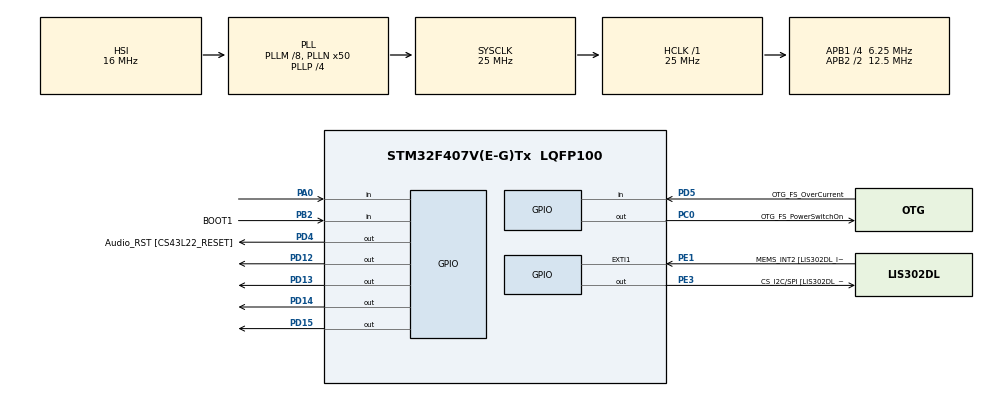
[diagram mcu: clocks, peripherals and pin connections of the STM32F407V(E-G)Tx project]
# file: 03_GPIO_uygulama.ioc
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Mcu.Family=STM32F4
Mcu.Name=STM32F407V(E-G)Tx
Mcu.Package=LQFP100
NVIC.PriorityGroup=NVIC_PRIORITYGROUP_0
PA0-WKUP.Signal=GPIO_Input
PA10.GPIO_Label=OTG_FS_ID
PA10.GPIO_Mode=GPIO_MODE_AF_PP
PA10.GPIO_PuPd=GPIO_NOPULL
PA10.GPIO_Speed=GPIO_SPEED_FREQ_LOW
PA10.Signal=USB_OTG_FS_ID
PA11.GPIO_Label=OTG_FS_DM
PA11.GPIO_Mode=GPIO_MODE_AF_PP
PA11.GPIO_PuPd=GPIO_NOPULL
PA11.GPIO_Speed=GPIO_SPEED_FREQ_LOW
PA11.Signal=USB_OTG_FS_DM
PA12.GPIO_Label=OTG_FS_DP
PA12.GPIO_Mode=GPIO_MODE_AF_PP
PA12.GPIO_PuPd=GPIO_NOPULL
PA12.GPIO_Speed=GPIO_SPEED_FREQ_LOW
PA12.Signal=USB_OTG_FS_DP
PA13.GPIO_Label=SWDIO
PA13.Signal=SYS_JTMS-SWDIO
PA14.GPIO_Label=SWCLK
PA14.Signal=SYS_JTCK-SWCLK
PA4.GPIO_Label=I2S3_WS [CS43L22_LRCK]
PA4.GPIO_Mode=GPIO_MODE_AF_PP
PA4.GPIO_PuPd=GPIO_NOPULL
PA4.GPIO_Speed=GPIO_SPEED_FREQ_LOW
PA4.Signal=I2S3_WS
PA5.GPIO_Label=SPI1_SCK [LIS302DL_SCL/SPC]
PA5.GPIO_Mode=GPIO_MODE_AF_PP
PA5.GPIO_PuPd=GPIO_NOPULL
PA5.GPIO_Speed=GPIO_SPEED_FREQ_LOW
PA5.Signal=SPI1_SCK
PA6.GPIO_Label=SPI1_MISO [LIS302DL_SDO]
PA6.GPIO_Mode=GPIO_MODE_AF_PP
PA6.GPIO_PuPd=GPIO_NOPULL
PA6.GPIO_Speed=GPIO_SPEED_FREQ_LOW
PA6.Signal=SPI1_MISO
PA7.GPIO_Label=SPI1_MOSI [LIS302DL_SDA/SDI/SDO]
PA7.GPIO_Mode=GPIO_MODE_AF_PP
PA7.GPIO_PuPd=GPIO_NOPULL
PA7.GPIO_Speed=GPIO_SPEED_FREQ_LOW
PA7.Signal=SPI1_MOSI
PA9.GPIO_Label=VBUS_FS
PA9.GPIO_Mode=GPIO_MODE_INPUT
PA9.GPIO_PuPd=GPIO_NOPULL
PA9.Signal=USB_OTG_FS_VBUS
PB10.GPIO_Label=CLK_IN [MP45DT02_CLK]
PB10.GPIO_Mode=GPIO_MODE_AF_PP
PB10.GPIO_PuPd=GPIO_NOPULL
PB10.GPIO_Speed=GPIO_SPEED_FREQ_LOW
PB10.Signal=I2S2_CK
PB2.GPIO_Label=BOOT1
PB2.GPIO_Mode=GPIO_MODE_INPUT
PB2.GPIO_PuPd=GPIO_NOPULL
PB2.Signal=GPIO_Input
PB3.GPIO_Label=SWO
PB3.Signal=SYS_JTDO-SWO
PB6.GPIO_Label=Audio_SCL [CS43L22_SCL]
PB6.GPIO_Mode=GPIO_MODE_AF_OD
PB6.GPIO_PuPd=GPIO_NOPULL
PB6.GPIO_Speed=GPIO_SPEED_FREQ_LOW
PB6.Signal=I2C1_SCL
PB9.GPIO_Label=Audio_SDA [CS43L22_SDA]
PB9.GPIO_Mode=GPIO_MODE_AF_OD
PB9.GPIO_PuPd=GPIO_NOPULL
PB9.GPIO_Speed=GPIO_SPEED_FREQ_LOW
PB9.Signal=I2C1_SDA
PC0.GPIO_Label=OTG_FS_PowerSwitchOn
PC0.GPIO_PuPd=GPIO_NOPULL
PC0.GPIO_Speed=GPIO_SPEED_FREQ_LOW
PC0.PinState=GPIO_PIN_SET
PC0.Signal=GPIO_Output
PC10.GPIO_Label=I2S3_SCK [CS43L22_SCLK]
PC10.GPIO_Mode=GPIO_MODE_AF_PP
PC10.GPIO_PuPd=GPIO_NOPULL
PC10.GPIO_Speed=GPIO_SPEED_FREQ_LOW
PC10.Signal=I2S3_CK
PC12.GPIO_Label=I2S3_SD [CS43L22_SDIN]
PC12.GPIO_Mode=GPIO_MODE_AF_PP
PC12.GPIO_PuPd=GPIO_NOPULL
PC12.GPIO_Speed=GPIO_SPEED_FREQ_LOW
PC12.Signal=I2S3_SD
PC14-OSC32_IN.GPIO_Label=PC14-OSC32_IN
PC14-OSC32_IN.Signal=RCC_OSC32_IN
PC15-OSC32_OUT.GPIO_Label=PC15-OSC32_OUT
PC15-OSC32_OUT.Signal=RCC_OSC32_OUT
PC3.GPIO_Label=PDM_OUT [MP45DT02_DOUT]
PC3.GPIO_Mode=GPIO_MODE_AF_PP
PC3.GPIO_PuPd=GPIO_NOPULL
PC3.GPIO_Speed=GPIO_SPEED_FREQ_LOW
PC3.Signal=I2S2_SD
PC7.GPIO_Label=I2S3_MCK [CS43L22_MCLK]
PC7.GPIO_Mode=GPIO_MODE_AF_PP
PC7.GPIO_PuPd=GPIO_NOPULL
PC7.GPIO_Speed=GPIO_SPEED_FREQ_LOW
PC7.Signal=I2S3_MCK
PD12.Signal=GPIO_Output
PD13.Signal=GPIO_Output
PD14.Signal=GPIO_Output
PD15.Signal=GPIO_Output
PD4.GPIO_Label=Audio_RST [CS43L22_RESET]
PD4.GPIO_PuPd=GPIO_NOPULL
PD4.GPIO_Speed=GPIO_SPEED_FREQ_LOW
PD4.Signal=GPIO_Output
PD5.GPIO_Label=OTG_FS_OverCurrent
PD5.GPIO_Mode=GPIO_MODE_INPUT
PD5.GPIO_PuPd=GPIO_NOPULL
PD5.Signal=GPIO_Input
PE1.GPIO_Label=MEMS_INT2 [LIS302DL_INT2]
PE1.GPIO_ModeDefaultEXTI=GPIO_MODE_EVT_RISING
PE1.GPIO_PuPd=GPIO_NOPULL
PE1.Signal=GPXTI1
PE3.GPIO_Label=CS_I2C/SPI [LIS302DL_CS_I2C/SPI]
PE3.GPIO_PuPd=GPIO_NOPULL
PE3.GPIO_Speed=GPIO_SPEED_FREQ_LOW
PE3.Signal=GPIO_Output
PH0-OSC_IN.GPIO_Label=PH0-OSC_IN
PH0-OSC_IN.Signal=RCC_OSC_IN
PH1-OSC_OUT.GPIO_Label=PH1-OSC_OUT
PH1-OSC_OUT.Signal=RCC_OSC_OUT
ProjectManager.HeapSize=0x200
ProjectManager.StackSize=0x400
ProjectManager.TargetToolchain=STM32CubeIDE
RCC.48MHZClocksFreq_Value=14285714.285714285
RCC.AHBFreq_Value=25000000
RCC.APB1CLKDivider=RCC_HCLK_DIV4
RCC.APB1Freq_Value=6250000
RCC.APB1TimFreq_Value=12500000
RCC.APB2CLKDivider=RCC_HCLK_DIV2
RCC.APB2Freq_Value=12500000
RCC.APB2TimFreq_Value=25000000
RCC.CortexFreq_Value=25000000
RCC.HCLKFreq_Value=25000000
RCC.HSE_VALUE=8000000
RCC.HSI_VALUE=16000000
RCC.LSE_VALUE=32768
RCC.PLLM=8
RCC.PLLN=50
RCC.PLLP=RCC_PLLP_DIV4
RCC.PLLQ=7
RCC.SYSCLKFreq_VALUE=25000000
RCC.SYSCLKSource=RCC_SYSCLKSOURCE_PLLCLK
RCC.VCOOutputFreq_Value=100000000
board=STM32F407G-DISC1

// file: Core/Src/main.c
/* USER CODE BEGIN Header */
/**
  ******************************************************************************
  * @file           : main.c
  * @brief          : Main program body
  ******************************************************************************
  * @attention
  *
  * Copyright (c) 2026 STMicroelectronics.
  * All rights reserved.
  *
  * This software is licensed under terms that can be found in the LICENSE file
  * in the root directory of this software component.
  * If no LICENSE file comes with this software, it is provided AS-IS.
  *
  ******************************************************************************
  */
/* USER CODE END Header */
#include "main.h"

/* USER CODE BEGIN PV */
uint8_t adim=0;

/* USER CODE END PV */

void SystemClock_Config(void);
static void MX_GPIO_Init(void);

int main(void)
{

  /* MCU Configuration--------------------------------------------------------*/

  /* Reset of all peripherals, Initializes the Flash interface and the Systick. */
  HAL_Init();

  /* Configure the system clock */
  SystemClock_Config();

  /* Initialize all configured peripherals */
  MX_GPIO_Init();

  /* Infinite loop */
  while (1)
  {

    /* USER CODE BEGIN 3 */
	  if(HAL_GPIO_ReadPin(GPIOA,GPIO_PIN_0)==GPIO_PIN_SET){
		  //150/1000 saniye bekler butona hala basılı isek butona gerçekten basmışızdır. Adımı ilerletir.
		  HAL_Delay(150);
		  if(HAL_GPIO_ReadPin(GPIOA,GPIO_PIN_0)==GPIO_PIN_SET){
		  		  adim++;
		  		  if(adim>8){
		  			  adim=1;
		  		  }
		  		  if(adim==1){
		  			  HAL_GPIO_WritePin(GPIOD,GPIO_PIN_12,GPIO_PIN_SET);
		  		  }
		  		if(adim==2){
		  			  HAL_GPIO_WritePin(GPIOD,GPIO_PIN_12|GPIO_PIN_13,GPIO_PIN_SET);
		  				  	}
		  		if(adim==3){
		  			HAL_GPIO_WritePin(GPIOD,GPIO_PIN_12|GPIO_PIN_13|GPIO_PIN_14,GPIO_PIN_SET);
		  		  }
		  		if(adim==4){
		  			HAL_GPIO_WritePin(GPIOD,GPIO_PIN_12|GPIO_PIN_13|GPIO_PIN_14| GPIO_PIN_15,GPIO_PIN_SET);
		  		  }
		  		if(adim==5){
		  			HAL_GPIO_WritePin(GPIOD,GPIO_PIN_15,GPIO_PIN_RESET);
		  		  }
		  		if(adim==6){
		  			HAL_GPIO_WritePin(GPIOD,GPIO_PIN_14,GPIO_PIN_RESET);
		  		  }
		  		if(adim==7){
		  			HAL_GPIO_WritePin(GPIOD,GPIO_PIN_13,GPIO_PIN_RESET);
		  		}
		  		if(adim==8){
		  		   HAL_GPIO_WritePin(GPIOD,GPIO_PIN_12,GPIO_PIN_RESET);
		  		}
		  	  }
		  while(HAL_GPIO_ReadPin(GPIOA,GPIO_PIN_0)==GPIO_PIN_SET){
			  // Parmağını butondan ÇEKENE KADAR işlemci bu döngüden çıkamaz.
			  // Aşağıya inemez, başa dönemez, adımı artıramaz.
			  // Sadece burada hapsolur.
			  //Burada parmağımızı cekene kadar bos islem doner yoksa elimizi cekmeden diger asamalara da geçebilir.
		  }

	  }

  }
  /* USER CODE END 3 */
}

void SystemClock_Config(void)
{
  RCC_OscInitTypeDef RCC_OscInitStruct = {0};
  RCC_ClkInitTypeDef RCC_ClkInitStruct = {0};

  /** Configure the main internal regulator output voltage
  */
  __HAL_RCC_PWR_CLK_ENABLE();
  __HAL_PWR_VOLTAGESCALING_CONFIG(PWR_REGULATOR_VOLTAGE_SCALE1);

  /** Initializes the RCC Oscillators according to the specified parameters
  * in the RCC_OscInitTypeDef structure.
  */
  RCC_OscInitStruct.OscillatorType = RCC_OSCILLATORTYPE_HSI;
  RCC_OscInitStruct.HSIState = RCC_HSI_ON;
  RCC_OscInitStruct.HSICalibrationValue = RCC_HSICALIBRATION_DEFAULT;
  RCC_OscInitStruct.PLL.PLLState = RCC_PLL_ON;
  RCC_OscInitStruct.PLL.PLLSource = RCC_PLLSOURCE_HSI;
  RCC_OscInitStruct.PLL.PLLM = 8;
  RCC_OscInitStruct.PLL.PLLN = 50;
  RCC_OscInitStruct.PLL.PLLP = RCC_PLLP_DIV4;
  RCC_OscInitStruct.PLL.PLLQ = 7;
  if (HAL_RCC_OscConfig(&RCC_OscInitStruct) != HAL_OK)
  {
    Error_Handler();
  }

  /** Initializes the CPU, AHB and APB buses clocks
  */
  RCC_ClkInitStruct.ClockType = RCC_CLOCKTYPE_HCLK|RCC_CLOCKTYPE_SYSCLK
                              |RCC_CLOCKTYPE_PCLK1|RCC_CLOCKTYPE_PCLK2;
  RCC_ClkInitStruct.SYSCLKSource = RCC_SYSCLKSOURCE_PLLCLK;
  RCC_ClkInitStruct.AHBCLKDivider = RCC_SYSCLK_DIV1;
  RCC_ClkInitStruct.APB1CLKDivider = RCC_HCLK_DIV4;
  RCC_ClkInitStruct.APB2CLKDivider = RCC_HCLK_DIV2;

  if (HAL_RCC_ClockConfig(&RCC_ClkInitStruct, FLASH_LATENCY_0) != HAL_OK)
  {
    Error_Handler();
  }
}

static void MX_GPIO_Init(void)
{
  GPIO_InitTypeDef GPIO_InitStruct = {0};

  /* GPIO Ports Clock Enable */
  __HAL_RCC_GPIOE_CLK_ENABLE();
  __HAL_RCC_GPIOC_CLK_ENABLE();
  __HAL_RCC_GPIOH_CLK_ENABLE();
  __HAL_RCC_GPIOA_CLK_ENABLE();
  __HAL_RCC_GPIOB_CLK_ENABLE();
  __HAL_RCC_GPIOD_CLK_ENABLE();

  /*Configure GPIO pin Output Level */
  HAL_GPIO_WritePin(CS_I2C_SPI_GPIO_Port, CS_I2C_SPI_Pin, GPIO_PIN_RESET);

  /*Configure GPIO pin Output Level */
  HAL_GPIO_WritePin(OTG_FS_PowerSwitchOn_GPIO_Port, OTG_FS_PowerSwitchOn_Pin, GPIO_PIN_SET);

  /*Configure GPIO pin Output Level */
  HAL_GPIO_WritePin(GPIOD, GPIO_PIN_12|GPIO_PIN_13|GPIO_PIN_14|GPIO_PIN_15
                          |Audio_RST_Pin, GPIO_PIN_RESET);

  /*Configure GPIO pin : CS_I2C_SPI_Pin */
  GPIO_InitStruct.Pin = CS_I2C_SPI_Pin;
  GPIO_InitStruct.Mode = GPIO_MODE_OUTPUT_PP;
  GPIO_InitStruct.Pull = GPIO_NOPULL;
  GPIO_InitStruct.Speed = GPIO_SPEED_FREQ_LOW;
  HAL_GPIO_Init(CS_I2C_SPI_GPIO_Port, &GPIO_InitStruct);

  /*Configure GPIO pin : OTG_FS_PowerSwitchOn_Pin */
  GPIO_InitStruct.Pin = OTG_FS_PowerSwitchOn_Pin;
  GPIO_InitStruct.Mode = GPIO_MODE_OUTPUT_PP;
  GPIO_InitStruct.Pull = GPIO_NOPULL;
  GPIO_InitStruct.Speed = GPIO_SPEED_FREQ_LOW;
  HAL_GPIO_Init(OTG_FS_PowerSwitchOn_GPIO_Port, &GPIO_InitStruct);

  /*Configure GPIO pin : PDM_OUT_Pin */
  GPIO_InitStruct.Pin = PDM_OUT_Pin;
  GPIO_InitStruct.Mode = GPIO_MODE_AF_PP;
  GPIO_InitStruct.Pull = GPIO_NOPULL;
  GPIO_InitStruct.Speed = GPIO_SPEED_FREQ_LOW;
  GPIO_InitStruct.Alternate = GPIO_AF5_SPI2;
  HAL_GPIO_Init(PDM_OUT_GPIO_Port, &GPIO_InitStruct);

  /*Configure GPIO pin : PA0 */
  GPIO_InitStruct.Pin = GPIO_PIN_0;
  GPIO_InitStruct.Mode = GPIO_MODE_INPUT;
  GPIO_InitStruct.Pull = GPIO_NOPULL;
  HAL_GPIO_Init(GPIOA, &GPIO_InitStruct);

  /*Configure GPIO pin : I2S3_WS_Pin */
  GPIO_InitStruct.Pin = I2S3_WS_Pin;
  GPIO_InitStruct.Mode = GPIO_MODE_AF_PP;
  GPIO_InitStruct.Pull = GPIO_NOPULL;
  GPIO_InitStruct.Speed = GPIO_SPEED_FREQ_LOW;
  GPIO_InitStruct.Alternate = GPIO_AF6_SPI3;
  HAL_GPIO_Init(I2S3_WS_GPIO_Port, &GPIO_InitStruct);

  /*Configure GPIO pins : SPI1_SCK_Pin SPI1_MISO_Pin SPI1_MOSI_Pin */
  GPIO_InitStruct.Pin = SPI1_SCK_Pin|SPI1_MISO_Pin|SPI1_MOSI_Pin;
  GPIO_InitStruct.Mode = GPIO_MODE_AF_PP;
  GPIO_InitStruct.Pull = GPIO_NOPULL;
  GPIO_InitStruct.Speed = GPIO_SPEED_FREQ_LOW;
  GPIO_InitStruct.Alternate = GPIO_AF5_SPI1;
  HAL_GPIO_Init(GPIOA, &GPIO_InitStruct);

  /*Configure GPIO pin : BOOT1_Pin */
  GPIO_InitStruct.Pin = BOOT1_Pin;
  GPIO_InitStruct.Mode = GPIO_MODE_INPUT;
  GPIO_InitStruct.Pull = GPIO_NOPULL;
  HAL_GPIO_Init(BOOT1_GPIO_Port, &GPIO_InitStruct);

  /*Configure GPIO pin : CLK_IN_Pin */
  GPIO_InitStruct.Pin = CLK_IN_Pin;
  GPIO_InitStruct.Mode = GPIO_MODE_AF_PP;
  GPIO_InitStruct.Pull = GPIO_NOPULL;
  GPIO_InitStruct.Speed = GPIO_SPEED_FREQ_LOW;
  GPIO_InitStruct.Alternate = GPIO_AF5_SPI2;
  HAL_GPIO_Init(CLK_IN_GPIO_Port, &GPIO_InitStruct);

  /*Configure GPIO pins : PD12 PD13 PD14 PD15
                           Audio_RST_Pin */
  GPIO_InitStruct.Pin = GPIO_PIN_12|GPIO_PIN_13|GPIO_PIN_14|GPIO_PIN_15
                          |Audio_RST_Pin;
  GPIO_InitStruct.Mode = GPIO_MODE_OUTPUT_PP;
  GPIO_InitStruct.Pull = GPIO_NOPULL;
  GPIO_InitStruct.Speed = GPIO_SPEED_FREQ_LOW;
  HAL_GPIO_Init(GPIOD, &GPIO_InitStruct);

  /*Configure GPIO pins : I2S3_MCK_Pin I2S3_SCK_Pin I2S3_SD_Pin */
  GPIO_InitStruct.Pin = I2S3_MCK_Pin|I2S3_SCK_Pin|I2S3_SD_Pin;
  GPIO_InitStruct.Mode = GPIO_MODE_AF_PP;
  GPIO_InitStruct.Pull = GPIO_NOPULL;
  GPIO_InitStruct.Speed = GPIO_SPEED_FREQ_LOW;
  GPIO_InitStruct.Alternate = GPIO_AF6_SPI3;
  HAL_GPIO_Init(GPIOC, &GPIO_InitStruct);

  /*Configure GPIO pin : VBUS_FS_Pin */
  GPIO_InitStruct.Pin = VBUS_FS_Pin;
  GPIO_InitStruct.Mode = GPIO_MODE_INPUT;
  GPIO_InitStruct.Pull = GPIO_NOPULL;
  HAL_GPIO_Init(VBUS_FS_GPIO_Port, &GPIO_InitStruct);

  /*Configure GPIO pins : OTG_FS_ID_Pin OTG_FS_DM_Pin OTG_FS_DP_Pin */
  GPIO_InitStruct.Pin = OTG_FS_ID_Pin|OTG_FS_DM_Pin|OTG_FS_DP_Pin;
  GPIO_InitStruct.Mode = GPIO_MODE_AF_PP;
  GPIO_InitStruct.Pull = GPIO_NOPULL;
  GPIO_InitStruct.Speed = GPIO_SPEED_FREQ_LOW;
  GPIO_InitStruct.Alternate = GPIO_AF10_OTG_FS;
  HAL_GPIO_Init(GPIOA, &GPIO_InitStruct);

  /*Configure GPIO pin : OTG_FS_OverCurrent_Pin */
  GPIO_InitStruct.Pin = OTG_FS_OverCurrent_Pin;
  GPIO_InitStruct.Mode = GPIO_MODE_INPUT;
  GPIO_InitStruct.Pull = GPIO_NOPULL;
  HAL_GPIO_Init(OTG_FS_OverCurrent_GPIO_Port, &GPIO_InitStruct);

  /*Configure GPIO pins : Audio_SCL_Pin Audio_SDA_Pin */
  GPIO_InitStruct.Pin = Audio_SCL_Pin|Audio_SDA_Pin;
  GPIO_InitStruct.Mode = GPIO_MODE_AF_OD;
  GPIO_InitStruct.Pull = GPIO_NOPULL;
  GPIO_InitStruct.Speed = GPIO_SPEED_FREQ_LOW;
  GPIO_InitStruct.Alternate = GPIO_AF4_I2C1;
  HAL_GPIO_Init(GPIOB, &GPIO_InitStruct);

  /*Configure GPIO pin : MEMS_INT2_Pin */
  GPIO_InitStruct.Pin = MEMS_INT2_Pin;
  GPIO_InitStruct.Mode = GPIO_MODE_EVT_RISING;
  GPIO_InitStruct.Pull = GPIO_NOPULL;
  HAL_GPIO_Init(MEMS_INT2_GPIO_Port, &GPIO_InitStruct);

}

void Error_Handler(void)
{
  __disable_irq();
  while (1)
  {
  }
}
